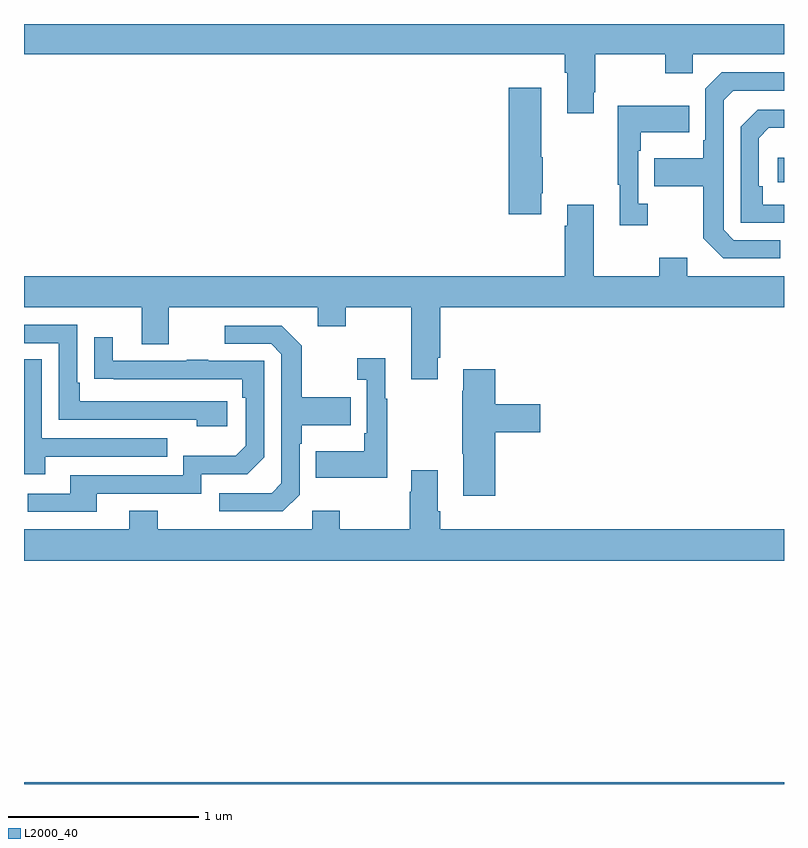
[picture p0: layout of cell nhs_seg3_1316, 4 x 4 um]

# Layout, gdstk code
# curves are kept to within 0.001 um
import gdstk
lib = gdstk.Library(unit=1e-6, precision=1e-09)
def R(c, l, rs):  # rectangles x0, y0, x1, y1
    for r in rs: c.add(gdstk.rectangle(r[:2], r[2:], *l))
def P(c, l, *ps):  # polygons
    for p in ps: c.add(gdstk.Polygon(p, *l))
L2000_40 = (2000, 40)

nhs_seg3_1316 = lib.new_cell('nhs_seg3_1316')
R(nhs_seg3_1316, L2000_40, [(179,706.4,183,706.408), (182.967,709.566,183,709.696)])
P(nhs_seg3_1316, L2000_40, [(181.999,710.041),(182.007,710.041),(182.007,710.24),(182.374,710.24),(182.374,710.141),(182.52,710.141),(182.52,710.24),(183,710.24),(183,710.4),(179,710.4),(179,710.24),(181.847,710.24),(181.847,710.144),(181.859,710.144),(181.859,709.929),(181.999,709.929)],
  [(182.98,709.263),(182.736,709.263),(182.682,709.317),(182.682,709.998),(182.733,710.049),(183,710.049),(183,710.145),(182.673,710.145),(182.586,710.058),(182.586,709.789),(182.574,709.789),(182.574,709.693),(182.317,709.693),(182.317,709.546),(182.574,709.546),(182.574,709.273),(182.679,709.167),(182.98,709.167)],
  [(181.723,709.51),(181.731,709.51),(181.731,709.699),(181.723,709.699),(181.723,710.065),(181.55,710.065),(181.55,709.398),(181.723,709.398)],
  [(182.284,709.454),(182.232,709.454),(182.232,709.733),(182.245,709.733),(182.245,709.829),(182.501,709.829),(182.501,709.969),(182.124,709.969),(182.124,709.553),(182.135,709.553),(182.135,709.341),(182.284,709.341)],
  [(183,709.449),(182.888,709.449),(182.888,709.546),(182.868,709.546),(182.868,709.8),(182.921,709.853),(183,709.853),(183,709.95),(182.862,709.95),(182.772,709.86),(182.772,709.353),(183,709.353)],
  [(181.177,708.643),(181.19,708.643),(181.19,708.908),(183,708.908),(183,709.072),(182.491,709.072),(182.491,709.171),(182.344,709.171),(182.344,709.072),(181.999,709.072),(181.999,709.45),(181.859,709.45),(181.859,709.337),(181.847,709.337),(181.847,709.072),(179,709.072),(179,708.908),(179.621,708.908),(179.621,708.714),(179.761,708.714),(179.761,708.908),(180.545,708.908),(180.545,708.809),(180.693,708.809),(180.693,708.908),(181.037,708.908),(181.037,708.531),(181.177,708.531)],
  [(180.07,708.414),(179.293,708.414),(179.293,708.511),(179.28,708.511),(179.28,708.816),(179,708.816),(179,708.72),(179.184,708.72),(179.184,708.318),(179.909,708.318),(179.909,708.284),(180.07,708.284)],
  [(180.45,707.922),(180.45,708.191),(180.463,708.191),(180.463,708.287),(180.719,708.287),(180.719,708.435),(180.463,708.435),(180.463,708.707),(180.357,708.813),(180.057,708.813),(180.057,708.717),(180.3,708.717),(180.354,708.663),(180.354,707.982),(180.303,707.931),(180.027,707.931),(180.027,707.835),(180.363,707.835)],
  [(179.383,707.928),(179.934,707.928),(179.934,708.03),(180.174,708.03),(180.264,708.12),(180.264,708.627),(179.969,708.627),(179.969,708.632),(179.857,708.632),(179.857,708.627),(179.467,708.627),(179.467,708.751),(179.371,708.751),(179.371,708.532),(180.148,708.531),(180.148,708.434),(180.168,708.434),(180.168,708.18),(180.115,708.127),(179.838,708.127),(179.838,708.024),(179.243,708.024),(179.243,707.928),(179.019,707.928),(179.019,707.832),(179.383,707.832)],
  [(180.913,708.427),(180.901,708.427),(180.901,708.64),(180.753,708.64),(180.753,708.527),(180.804,708.527),(180.804,708.247),(180.792,708.247),(180.792,708.151),(180.535,708.151),(180.535,708.011),(180.913,708.011)],
  [(179.113,708.123),(179.753,708.123),(179.753,708.219),(179.094,708.219),(179.094,708.635),(179,708.635),(179,708.029),(179.113,708.029)],
  [(181.481,708.251),(181.717,708.251),(181.717,708.398),(181.481,708.398),(181.481,708.583),(181.313,708.583),(181.313,708.47),(181.306,708.47),(181.306,708.139),(181.313,708.139),(181.313,707.916),(181.481,707.916)],
  [(183,707.74),(181.19,707.74),(181.19,707.836),(181.177,707.836),(181.177,708.052),(181.037,708.052),(181.037,707.939),(181.03,707.939),(181.03,707.74),(180.663,707.74),(180.663,707.839),(180.516,707.839),(180.516,707.74),(179.703,707.74),(179.703,707.839),(179.555,707.839),(179.555,707.74),(179,707.74),(179,707.576),(183,707.576)])

lib.write_gds('nhs_seg3_1316.gds')
